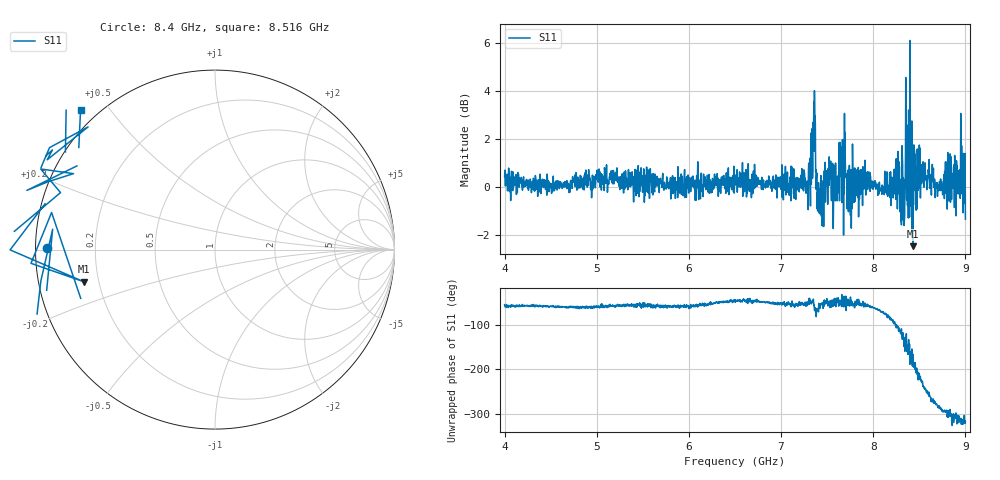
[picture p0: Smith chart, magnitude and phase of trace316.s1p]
! Created with skrf 1.8.0 (http://scikit-rf.org).
# Hz S RI R 50.0
!freq ReS11 ImS11
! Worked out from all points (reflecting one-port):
!   1601 points, 4 GHz to 9 GHz, reference 50 ohm
!   lowest |S11| = -2.5 dB at 8.431 GHz (marker M1), VSWR 7.09, Z = 7.15 - j5.91 ohm
!   phase of S11 starts at -55 deg and turns -264 deg over the sweep
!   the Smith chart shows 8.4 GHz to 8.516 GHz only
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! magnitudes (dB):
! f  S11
! 4 GHz  0.4
! 4.625 GHz  -0.1
! 5.016 GHz  0.6
! 5.25 GHz  -0.1
! 5.875 GHz  0.2
! 6.5 GHz  0.5
! 7.125 GHz  0.7
! 7.294 GHz  -0.9
! 7.347 GHz  2.7
! 7.372 GHz  2.6
! 7.4 GHz  0.0
! 7.428 GHz  -0.5
! 7.512 GHz  0.8
! 7.591 GHz  1.0
! 7.65 GHz  1.6
! 7.75 GHz  0.2
! 8.259 GHz  0.3
! 8.294 GHz  -0.4
! 8.316 GHz  1.3
! 8.375 GHz  0.6
! 8.431 GHz  -2.5
! 8.522 GHz  0.9
! 8.747 GHz  -0.1
! 8.788 GHz  -0.3
! 8.919 GHz  -0.2
! 8.956 GHz  0.3
! 8.972 GHz  0.9
! 9 GHz  -1.3
